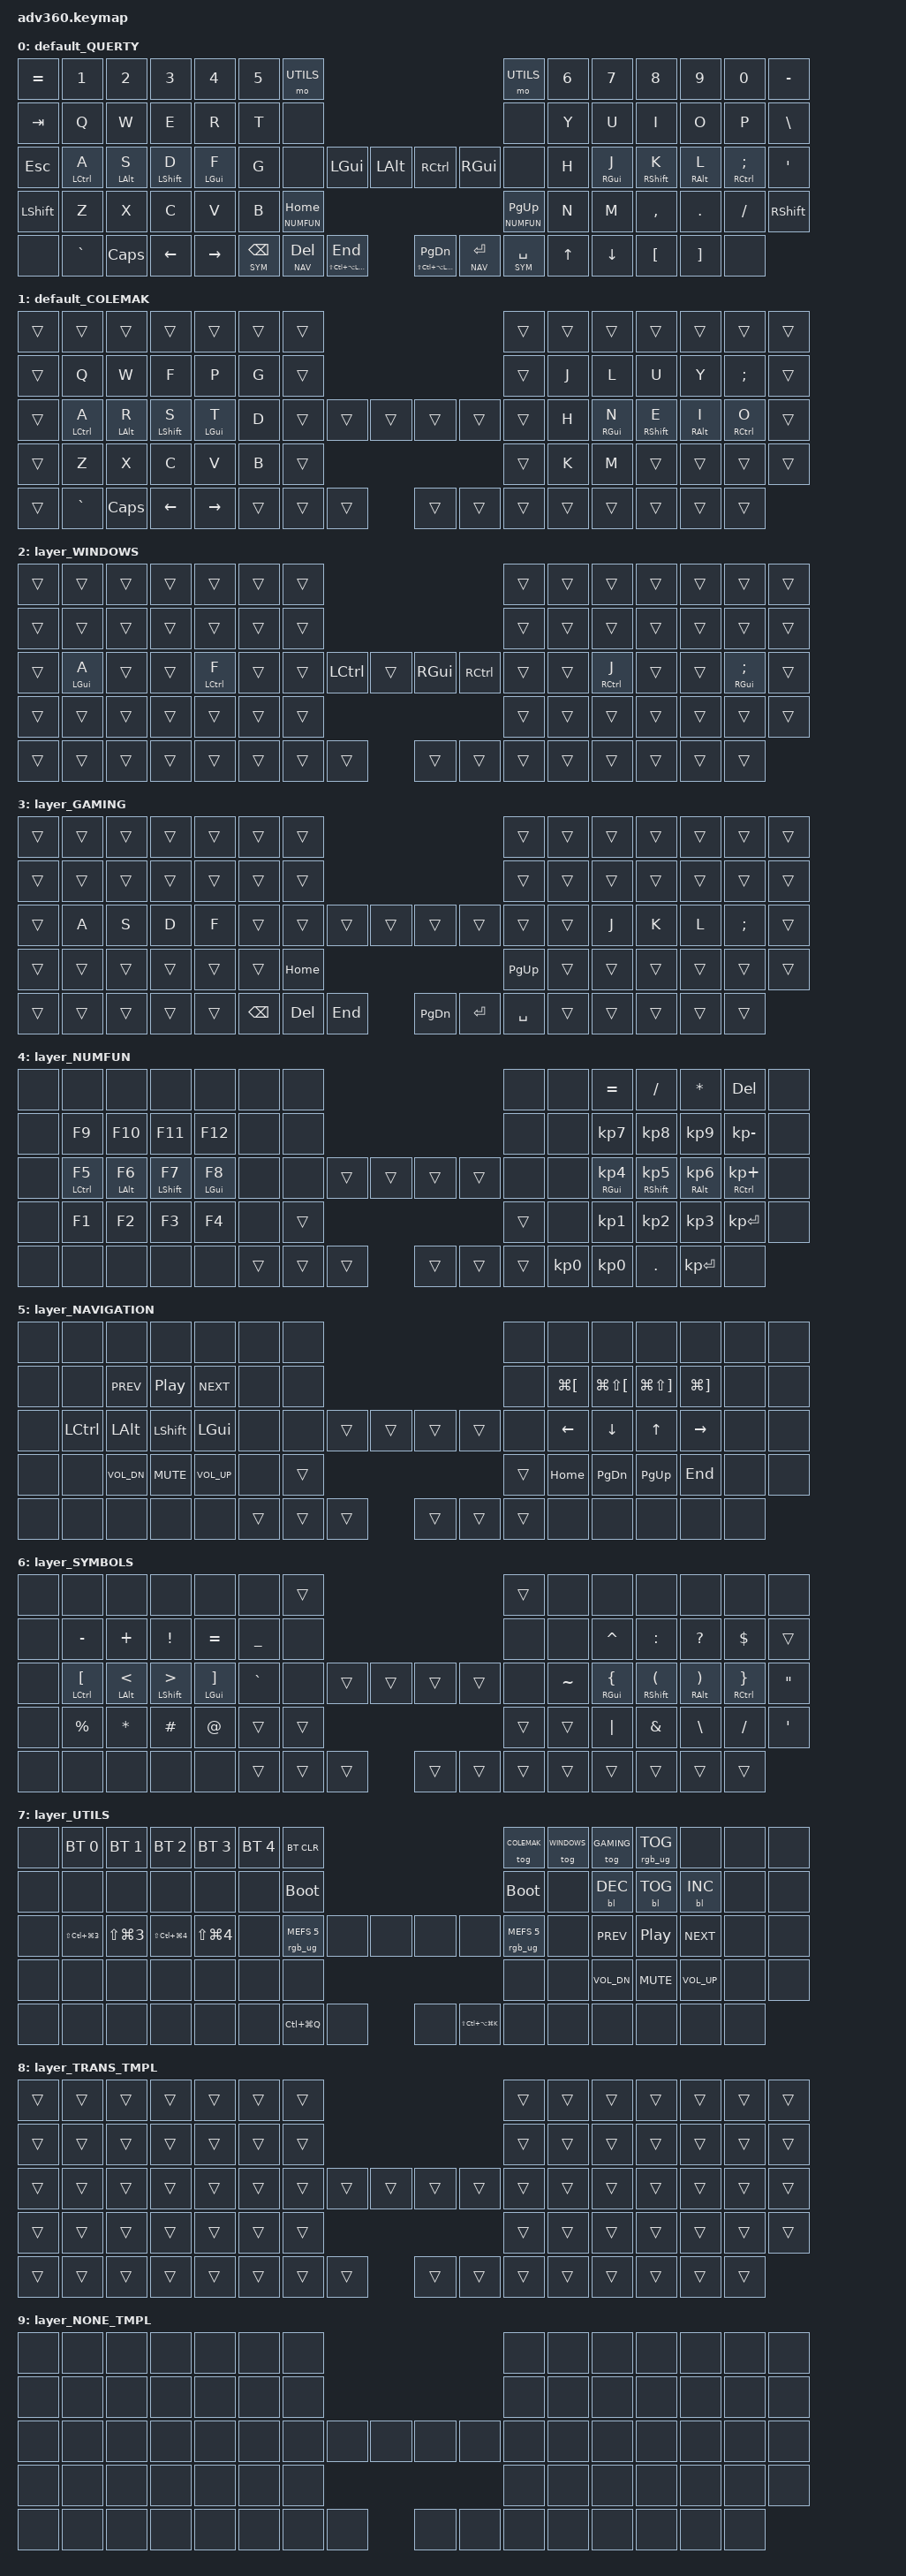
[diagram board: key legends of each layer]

/*
 * Copyright (c) 2020 The ZMK Contributors
 *
 * SPDX-License-Identifier: MIT
 */


/* THIS FILE WAS GENERATED!
 *
 * This file was generated automatically. You may or may not want to
 * edit it directly.
 */

/*
00: +  01: 1  02: 2  03: 3  04: 4  05: 5  06:MO                                             07:MO  08: 6  09: 7  10: 8  11: 9  12: 0  13: -
14:TA  15: Q  16: W  17: E  18: R  19: T  20:01                                             21:03  22: Y  23: U  24: I  25: O  26: P  27: \
28:ES  29: A  30: S  31: D  32: F  33: G  34:02         35:LG  36:LA   37:RC  38:RG         39:04  40: H  41: J  42: K  43: L  44: ;  45: '
46:LS  47: Z  48: X  49: C  50: V  51: B                       52:HM   53:PU                       54: N  55: M  56: ,  57: .  58: /  59:RS
60:LF  61: `  62:CA  63:LA  64:RA                65:BS  66:DE  67:EN   68:PD  69:EN  70:SP                71:UA  72:DA  73: [  74: ]  75:RF
 */

#include <behaviors.dtsi>
#include <dt-bindings/zmk/keys.h>
#include <dt-bindings/zmk/bt.h>
#include <dt-bindings/zmk/rgb.h>
#include <dt-bindings/zmk/backlight.h>
#include <dt-bindings/zmk/stp.h>
#include <dt-bindings/zmk/pointing.h>

#define QUERTY    0
#define COLEMAK   1
#define WINDOWS   2
#define GAMING    3
#define NUMFUN    4
#define NAV       5
#define SYM       6
#define UTILS     7

#define HYPER LS(LC(LA(LGUI)))

// Screen Shot to Clip Board
#define SCRSHT_CB LS(LC(LG(N3)))
// Screen Shot to File
#define SCRSHT_FI LS(LG(N3))
// Screen Selection to Clip Board
#define SLTSHT_CB LS(LC(LG(N4)))
// Screen Selection to File
#define SLTSHT_FI LS(LG(N4))
// Lock Screen
#define LOCK_SCR  LC(LG(Q))
#define SLEEP_DIS LS(LC(LA(LG(K))))

#define COMBO_TIMEOUT 300
// Suppress combos that fire too soon after a keypress (anti-misfire while typing).
#define COMBO_PRIOR_IDLE 125

// Positional homerow-mod trigger sets: a homerow mod only "holds" if the next
// key is on the opposite hand or a thumb (kills same-hand-roll misfires).
#define KEYS_L  0  1  2  3  4  5  6 14 15 16 17 18 19 20 28 29 30 31 32 33 34 46 47 48 49 50 51 60 61 62 63 64
#define KEYS_R  7  8  9 10 11 12 13 21 22 23 24 25 26 27 39 40 41 42 43 44 45 54 55 56 57 58 59 71 72 73 74 75
#define THUMBS 35 36 37 38 52 53 65 66 67 68 69 70

// Named key positions used by combos (see the physical layout map at top).
#define POS_LSHIFT   46   // bottom-row left Shift
#define POS_RSHIFT   59   // bottom-row right Shift
#define POS_LCORNER  60   // lower-left corner key
#define POS_RCORNER  75   // lower-right corner key
#define POS_LDELETE  66   // left thumb Delete
#define POS_RENTER   69   // right thumb Enter

/ {
  behaviors {
    #include "version.dtsi"

    // Non-positional hold-tap, kept for the HYPER thumb keys.
    hm: homerow_mods {
        compatible = "zmk,behavior-hold-tap";
        label = "HOMEROW_MODS";
        #binding-cells = <2>;
        flavor = "tap-preferred";
        tapping-term-ms = <180>;
        quick-tap-ms = <175>;
        require-prior-idle-ms = <150>;
        bindings = <&kp>, <&kp>;
    };

    // Left-hand homerow mods: positional, only hold when the next key is on
    // the right hand or a thumb.
    hml: homerow_mods_left {
        compatible = "zmk,behavior-hold-tap";
        label = "HRM_LEFT";
        #binding-cells = <2>;
        flavor = "balanced";
        tapping-term-ms = <180>;
        quick-tap-ms = <175>;
        require-prior-idle-ms = <150>;
        hold-trigger-key-positions = <KEYS_R THUMBS>;
        hold-trigger-on-release;
        bindings = <&kp>, <&kp>;
    };

    // Right-hand homerow mods: positional, only hold when the next key is on
    // the left hand or a thumb.
    hmr: homerow_mods_right {
        compatible = "zmk,behavior-hold-tap";
        label = "HRM_RIGHT";
        #binding-cells = <2>;
        flavor = "balanced";
        tapping-term-ms = <180>;
        quick-tap-ms = <175>;
        require-prior-idle-ms = <150>;
        hold-trigger-key-positions = <KEYS_L THUMBS>;
        hold-trigger-on-release;
        bindings = <&kp>, <&kp>;
    };

    cwm: caps_word_mods {
        compatible = "zmk,behavior-caps-word";
        label = "CUSTOM_CAPS";
        #binding-cells = <0>;
        continue-list = <BACKSPACE UNDERSCORE DEL MINUS UNDERSCORE>;
    };

    rlt: repeating_layer_tap {
        compatible = "zmk,behavior-hold-tap";
        label = "LAYER_TAP";
        #binding-cells = <2>;
        flavor = "tap-preferred";
        tapping-term-ms = <200>;
        quick-tap-ms = <175>;
        global-quick-tap;
        bindings = <&mo>, <&kp>;
    };
  };

    combos {
        compatible = "zmk,combos";
        combo_caps_word {
            timeout-ms = <COMBO_TIMEOUT>;
            require-prior-idle-ms = <COMBO_PRIOR_IDLE>;
            key-positions = <POS_LSHIFT POS_RSHIFT>;
            bindings = <&cwm>;
        };
        // UTILS entered via a lower corner + its Delete/Enter thumb key
        // (the corners are &none on base, so these are deliberate chords).
        combo_utils_layer_left {
            timeout-ms = <COMBO_TIMEOUT>;
            require-prior-idle-ms = <COMBO_PRIOR_IDLE>;
            key-positions = <POS_LCORNER POS_LDELETE>;
            bindings = <&mo UTILS>;
        };
        combo_utils_layer_right {
            timeout-ms = <COMBO_TIMEOUT>;
            require-prior-idle-ms = <COMBO_PRIOR_IDLE>;
            key-positions = <POS_RCORNER POS_RENTER>;
            bindings = <&mo UTILS>;
        };
    };

    keymap {
        compatible = "zmk,keymap";

        default_QUERTY {
            bindings = <
&kp EQUAL  &kp N1      &kp N2      &kp N3       &kp N4      &kp N5      &mo UTILS                                                                               &mo UTILS  &kp N6  &kp N7       &kp N8    &kp N9    &kp N0  &kp MINUS
&kp TAB    &kp Q       &kp W       &kp E        &kp R       &kp T       &none                                                                                   &none    &kp Y   &kp U        &kp I     &kp O     &kp P   &kp BSLH
&kp ESC    &hml LCTL A &hml LALT S &hml LSHFT D &hml LGUI F &kp G       &none          &kp LGUI     &kp LALT                           &kp RCTRL &kp RGUI       &none    &kp H         &hmr RGUI J     &hmr RSHFT K    &hmr RALT L &hmr RCTRL SEMI   &kp SQT
&kp LSHFT  &kp Z       &kp X       &kp C        &kp V       &kp B                                   &rlt NUMFUN HOME                   &rlt NUMFUN PG_UP                 &kp N &kp M  &kp COMMA   &kp DOT  &kp FSLH  &kp RSHFT
&none    &kp GRAVE   &kp CAPS    &kp LEFT     &kp RIGHT                    &rlt SYM BSPC  &rlt NAV DEL &hm HYPER END    &hm HYPER PG_DN  &rlt NAV ENTER &rlt SYM SPACE                             &kp UP &kp DOWN  &kp LBKT  &kp RBKT      &none
            >;
        };

        default_COLEMAK {
            bindings = <
&trans &trans     &trans     &trans      &trans     &trans     &trans                                             &trans  &trans  &trans     &trans    &trans    &trans  &trans
&trans &kp Q      &kp W      &kp F       &kp P      &kp G      &trans                                             &trans  &kp J   &kp L      &kp U     &kp Y     &kp SEMI   &trans
&trans &hml LCTL A &hml LALT R &hml LSHFT S &hml LGUI T &kp D     &trans        &trans &trans   &trans &trans        &trans  &kp H        &hmr RGUI N     &hmr RSHFT E    &hmr RALT I &hmr RCTRL O   &trans
&trans &kp Z      &kp X      &kp C       &kp V      &kp B                              &trans   &trans                       &kp K   &kp M  &trans   &trans  &trans  &trans
&trans &kp GRAVE  &kp CAPS   &kp LEFT    &kp RIGHT                    &trans &trans &trans   &trans &trans &trans                 &trans   &trans  &trans  &trans      &trans
            >;
        };

// Swaps GUI <-> Ctrl so macOS Cmd-based muscle memory maps to Windows Ctrl.
// Swap applies to the index-finger homerow mods and the inner thumb mods;
// Alt and Shift are unchanged. QWERTY-only (homerow letters are hardcoded).
        layer_WINDOWS {
            bindings = <
&trans  &trans       &trans  &trans  &trans       &trans  &trans                                                     &trans &trans &trans       &trans &trans &trans       &trans
&trans  &trans       &trans  &trans  &trans       &trans  &trans                                                     &trans &trans &trans       &trans &trans &trans       &trans
&trans  &hml LGUI A  &trans  &trans  &hml LCTL F  &trans  &trans          &kp LCTRL &trans   &kp RGUI &kp RCTRL      &trans &trans &hmr RCTRL J  &trans &trans &hmr RGUI SEMI  &trans
&trans  &trans       &trans  &trans  &trans       &trans                          &trans      &trans                        &trans &trans       &trans &trans &trans       &trans
&trans  &trans       &trans  &trans  &trans               &trans  &trans  &trans      &trans  &trans  &trans               &trans &trans       &trans &trans &trans
            >;
        };

// Removes every dual-function/hold-tap key so they register plain (and repeat)
// when held in games. Generally applied over the WINDOWS layer.
        layer_GAMING {
            bindings = <
&trans  &trans  &trans  &trans &trans  &trans  &trans                                                      &trans &trans &trans &trans &trans &trans &trans
&trans  &trans  &trans  &trans &trans  &trans  &trans                                                      &trans &trans &trans   &trans   &trans    &trans &trans
&trans  &kp A   &kp S   &kp D  &kp F   &trans  &trans          &trans   &trans      &trans  &trans         &trans &trans &kp J     &kp K    &kp L     &kp SEMI &trans
&trans  &trans  &trans  &trans &trans  &trans                           &kp HOME    &kp PG_UP                     &trans &trans &trans &trans &trans &trans
&trans  &trans  &trans  &trans &trans                  &kp BSPC  &kp DEL  &kp END     &kp PG_DN  &kp ENTER  &kp SPACE             &trans &trans &trans &trans &trans
            >;
        };

// Merged number + function layer: F-keys (grid) on the left hand, numpad on
// the right. Both home rows carry homerow mods (hold = mod, tap = F-key/digit).
// Reached from either middle-thumb key (52 / 53).
        layer_NUMFUN {
            bindings = <
&none  &none          &none          &none          &none          &none  &none                                             &none  &none  &kp EQUAL  &kp FSLH    &kp STAR    &kp DEL       &none
&none  &kp F9         &kp F10        &kp F11        &kp F12        &none  &none                                             &none  &none  &kp KP_N7  &kp KP_N8   &kp KP_N9   &kp KP_MINUS  &none
&none  &hml LCTL F5   &hml LALT F6   &hml LSHFT F7  &hml LGUI F8   &none  &none        &trans &trans   &trans &trans        &none  &none  &hmr RGUI KP_N4  &hmr RSHFT KP_N5  &hmr RALT KP_N6  &hmr RCTRL KP_PLUS  &none
&none  &kp F1         &kp F2         &kp F3         &kp F4         &none               &trans   &trans                      &none  &kp KP_N1  &kp KP_N2   &kp KP_N3   &kp KP_ENTER  &none
&none  &none          &none          &none          &none                &trans &trans &trans   &trans &trans &trans               &kp KP_N0  &kp KP_N0   &kp DOT     &kp KP_ENTER  &none
            >;
        };

        layer_NAVIGATION {
            bindings = <
&none  &none     &none        &none      &none        &none &none                                                  &none    &none        &none            &none            &none        &none &none
&none  &none     &kp C_PREV   &kp C_PP   &kp C_NEXT   &none &none                                                  &none    &kp LG(LBKT) &kp LG(LS(LBKT)) &kp LG(LS(RBKT)) &kp LG(RBKT) &none &none
&none  &kp LCTL  &kp LALT     &kp LSHFT  &kp LGUI     &none &none         &trans  &trans   &trans  &trans          &none    &kp LEFT     &kp DOWN         &kp UP           &kp RIGHT    &none &none
&none  &none     &kp C_VOL_DN &kp C_MUTE &kp C_VOL_UP &none                       &trans   &trans                  &kp HOME &kp PG_DN    &kp PG_UP        &kp END          &none        &none
&none  &none     &none        &none      &none                    &trans  &trans  &trans   &trans  &trans  &trans           &none        &none            &none            &none        &none
            >;
        };

        layer_SYMBOLS {
            bindings = <
&none &none     &none    &none    &none     &none      &trans                                              &trans  &none      &none &none &none &none &none
&none &kp MINUS &kp PLUS &kp EXCL &kp EQUAL &kp UNDER  &none                                               &none   &none      &kp CARET &kp COLON &kp QMARK &kp DLLR &trans
&none &hml LCTL LBKT  &hml LALT LT  &hml LSHFT GT  &hml LGUI RBKT  &kp GRAVE     &none          &trans  &trans      &trans  &trans   &none   &kp TILDE  &hmr RGUI LBRC  &hmr RSHFT LPAR  &hmr RALT RPAR  &hmr RCTRL RBRC &kp DQT
&none &kp PRCNT  &kp STAR  &kp HASH  &kp AT  &trans                           &trans      &trans                   &trans     &kp PIPE  &kp AMPS  &kp BSLH  &kp FSLH &kp SQT
&none &none &none &none &none                                 &trans  &trans  &trans      &trans  &trans  &trans              &trans    &trans    &trans    &trans    &trans
            >;
        };

        layer_UTILS {
            bindings = <
&none &bt BT_SEL 0  &bt BT_SEL 1  &bt BT_SEL 2  &bt BT_SEL 3   &bt BT_SEL 4 &bt BT_CLR                                            &tog COLEMAK            &tog WINDOWS      &tog GAMING   &rgb_ug RGB_TOG  &none         &none  &none
&none &none         &none         &none         &none          &none        &bootloader                                           &bootloader             &none             &bl BL_DEC    &bl BL_TOG       &bl BL_INC    &none  &none
&none &kp SCRSHT_CB &kp SCRSHT_FI &kp SLTSHT_CB &kp SLTSHT_FI &none         &rgb_ug RGB_MEFS_CMD 5  &none &none   &none  &none    &rgb_ug RGB_MEFS_CMD 5  &none             &kp C_PREV    &kp C_PP         &kp C_NEXT    &none  &none
&none &none         &none         &none         &none          &none                                      &none   &none                                   &none             &kp C_VOL_DN  &kp C_MUTE       &kp C_VOL_UP  &none  &none
&none &none         &none         &none         &none                                 &none &kp LOCK_SCR  &none   &none  &kp SLEEP_DIS  &none                               &none         &none            &none         &none  &none
            >;
        };

        layer_TRANS_TMPL {
            bindings = <
&trans  &trans  &trans  &trans &trans  &trans  &trans                                                     &trans &trans &trans &trans &trans &trans &trans
&trans  &trans  &trans  &trans &trans  &trans  &trans                                                     &trans &trans &trans &trans &trans &trans &trans
&trans  &trans  &trans  &trans &trans  &trans  &trans          &trans  &trans      &trans  &trans         &trans &trans &trans &trans &trans &trans &trans
&trans  &trans  &trans  &trans &trans  &trans                          &trans      &trans                        &trans &trans &trans &trans &trans &trans
&trans  &trans  &trans  &trans &trans                  &trans  &trans  &trans      &trans  &trans  &trans               &trans &trans &trans &trans &trans
            >;
        };

        layer_NONE_TMPL {
            bindings = <
&none &none &none &none &none &none &none                                          &none &none &none &none &none &none &none
&none &none &none &none &none &none &none                                          &none &none &none &none &none &none &none
&none &none &none &none &none &none &none        &none &none   &none  &none        &none &none &none &none &none &none &none
&none &none &none &none &none &none                    &none   &none                     &none &none &none &none &none &none
&none &none &none &none &none             &none  &none &none   &none  &none  &none              &none &none &none &none &none
            >;
        };

    };
};

// Augment ZMK's built-in soft-off behavior with a hold guard so a stray tap
// can't power the keyboard down; the key must be held ~1s to trigger.
&soft_off {
    hold-time-ms = <1000>;
};
